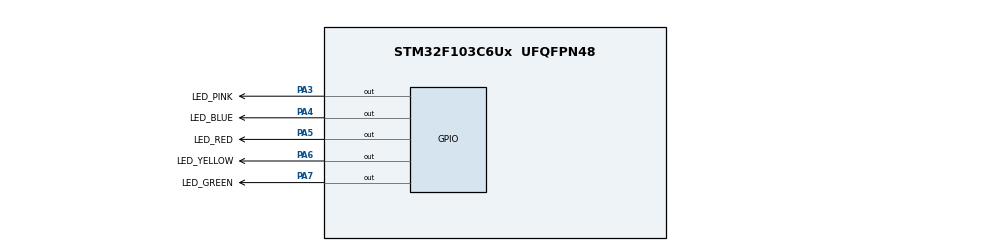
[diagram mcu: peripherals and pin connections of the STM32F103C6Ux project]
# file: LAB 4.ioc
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Mcu.Family=STM32F1
Mcu.Name=STM32F103C6Ux
Mcu.Package=UFQFPN48
NVIC.PriorityGroup=NVIC_PRIORITYGROUP_4
NVIC.TIM2_IRQn=true\:0\:0\:false\:false\:true\:true\:true
PA3.GPIO_Label=LED_PINK
PA3.Signal=GPIO_Output
PA4.GPIO_Label=LED_BLUE
PA4.Signal=GPIO_Output
PA5.GPIO_Label=LED_RED
PA5.Signal=GPIO_Output
PA6.GPIO_Label=LED_YELLOW
PA6.Signal=GPIO_Output
PA7.GPIO_Label=LED_GREEN
PA7.Signal=GPIO_Output
ProjectManager.HeapSize=0x200
ProjectManager.StackSize=0x400
ProjectManager.TargetToolchain=STM32CubeIDE
RCC.APB1Freq_Value=8000000
RCC.APB2Freq_Value=8000000
TIM2.Period=9
TIM2.Prescaler=7999
VP_SYS_VS_ND.Mode=No_Debug
VP_TIM2_VS_ClockSourceINT.Mode=Internal
board=custom

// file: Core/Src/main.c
/* USER CODE BEGIN Header */
/**
  ******************************************************************************
  * @file           : main.c
  * @brief          : Main program body
  ******************************************************************************
  * @attention
  *
  * <h2><center>&copy; Copyright (c) 2022 STMicroelectronics.
  * All rights reserved.</center></h2>
  *
  * This software component is licensed by ST under BSD 3-Clause license,
  * the "License"; You may not use this file except in compliance with the
  * License. You may obtain a copy of the License at:
  *                        opensource.org/licenses/BSD-3-Clause
  *
  ******************************************************************************
  */
/* USER CODE END Header */
#include "main.h"

/* USER CODE BEGIN Includes */
#include  "scheduler.h"
/* USER CODE END Includes */

TIM_HandleTypeDef htim2;

void SystemClock_Config(void);
static void MX_GPIO_Init(void);
static void MX_TIM2_Init(void);

/* USER CODE BEGIN 0 */
void led_red_run(){
	HAL_GPIO_TogglePin(LED_RED_GPIO_Port, LED_RED_Pin);
}
void led_yellow_run(){
	HAL_GPIO_TogglePin(LED_YELLOW_GPIO_Port, LED_YELLOW_Pin);
}

void led_green_run(){
	HAL_GPIO_TogglePin(LED_GREEN_GPIO_Port, LED_GREEN_Pin);
}

void led_blue_run(){
	HAL_GPIO_TogglePin(LED_BLUE_GPIO_Port, LED_BLUE_Pin);
}

void led_pink_run(){
	HAL_GPIO_TogglePin(LED_PINK_GPIO_Port, LED_PINK_Pin);
}

/* USER CODE END 0 */

int main(void)
{

  /* MCU Configuration--------------------------------------------------------*/

  /* Reset of all peripherals, Initializes the Flash interface and the Systick. */
  HAL_Init();

  /* Configure the system clock */
  SystemClock_Config();

  /* Initialize all configured peripherals */
  MX_GPIO_Init();
  MX_TIM2_Init();
  /* USER CODE BEGIN 2 */
 HAL_TIM_Base_Start_IT (&htim2);
  /* USER CODE END 2 */

  /* Infinite loop */
  /* USER CODE BEGIN WHILE */

 SCH_Add_Task(led_pink_run, 0, 50);
 SCH_Add_Task(led_green_run, 50, 150);
 SCH_Add_Task(led_blue_run, 100, 100);
 SCH_Add_Task(led_red_run, 150, 200);
 SCH_Add_Task(led_yellow_run, 200, 250);

//  SCH_Add_Task(led_pink_run, 0, 100);
//  SCH_Add_Task(led_green_run, 100, 200);
//  SCH_Add_Task(led_blue_run, 200, 300);
//  SCH_Add_Task(led_red_run, 300, 400);
//  SCH_Add_Task(led_yellow_run, 400, 500);

  while (1)
  {
    /* USER CODE END WHILE */
	  SCH_Dispatch_Tasks();
  }
}

void SystemClock_Config(void)
{
  RCC_OscInitTypeDef RCC_OscInitStruct = {0};
  RCC_ClkInitTypeDef RCC_ClkInitStruct = {0};

  /** Initializes the RCC Oscillators according to the specified parameters
  * in the RCC_OscInitTypeDef structure.
  */
  RCC_OscInitStruct.OscillatorType = RCC_OSCILLATORTYPE_HSI;
  RCC_OscInitStruct.HSIState = RCC_HSI_ON;
  RCC_OscInitStruct.HSICalibrationValue = RCC_HSICALIBRATION_DEFAULT;
  RCC_OscInitStruct.PLL.PLLState = RCC_PLL_NONE;
  if (HAL_RCC_OscConfig(&RCC_OscInitStruct) != HAL_OK)
  {
    Error_Handler();
  }
  /** Initializes the CPU, AHB and APB buses clocks
  */
  RCC_ClkInitStruct.ClockType = RCC_CLOCKTYPE_HCLK|RCC_CLOCKTYPE_SYSCLK
                              |RCC_CLOCKTYPE_PCLK1|RCC_CLOCKTYPE_PCLK2;
  RCC_ClkInitStruct.SYSCLKSource = RCC_SYSCLKSOURCE_HSI;
  RCC_ClkInitStruct.AHBCLKDivider = RCC_SYSCLK_DIV1;
  RCC_ClkInitStruct.APB1CLKDivider = RCC_HCLK_DIV1;
  RCC_ClkInitStruct.APB2CLKDivider = RCC_HCLK_DIV1;

  if (HAL_RCC_ClockConfig(&RCC_ClkInitStruct, FLASH_LATENCY_0) != HAL_OK)
  {
    Error_Handler();
  }
}

static void MX_TIM2_Init(void)
{

  TIM_ClockConfigTypeDef sClockSourceConfig = {0};
  TIM_MasterConfigTypeDef sMasterConfig = {0};

  htim2.Instance = TIM2;
  htim2.Init.Prescaler = 7999;
  htim2.Init.CounterMode = TIM_COUNTERMODE_UP;
  htim2.Init.Period = 9;
  htim2.Init.ClockDivision = TIM_CLOCKDIVISION_DIV1;
  htim2.Init.AutoReloadPreload = TIM_AUTORELOAD_PRELOAD_DISABLE;
  if (HAL_TIM_Base_Init(&htim2) != HAL_OK)
  {
    Error_Handler();
  }
  sClockSourceConfig.ClockSource = TIM_CLOCKSOURCE_INTERNAL;
  if (HAL_TIM_ConfigClockSource(&htim2, &sClockSourceConfig) != HAL_OK)
  {
    Error_Handler();
  }
  sMasterConfig.MasterOutputTrigger = TIM_TRGO_RESET;
  sMasterConfig.MasterSlaveMode = TIM_MASTERSLAVEMODE_DISABLE;
  if (HAL_TIMEx_MasterConfigSynchronization(&htim2, &sMasterConfig) != HAL_OK)
  {
    Error_Handler();
  }

}

static void MX_GPIO_Init(void)
{
  GPIO_InitTypeDef GPIO_InitStruct = {0};

  /* GPIO Ports Clock Enable */
  __HAL_RCC_GPIOA_CLK_ENABLE();

  /*Configure GPIO pin Output Level */
  HAL_GPIO_WritePin(GPIOA, LED_PINK_Pin|LED_BLUE_Pin|LED_RED_Pin|LED_YELLOW_Pin
                          |LED_GREEN_Pin, GPIO_PIN_RESET);

  /*Configure GPIO pins : LED_PINK_Pin LED_BLUE_Pin LED_RED_Pin LED_YELLOW_Pin
                           LED_GREEN_Pin */
  GPIO_InitStruct.Pin = LED_PINK_Pin|LED_BLUE_Pin|LED_RED_Pin|LED_YELLOW_Pin
                          |LED_GREEN_Pin;
  GPIO_InitStruct.Mode = GPIO_MODE_OUTPUT_PP;
  GPIO_InitStruct.Pull = GPIO_NOPULL;
  GPIO_InitStruct.Speed = GPIO_SPEED_FREQ_LOW;
  HAL_GPIO_Init(GPIOA, &GPIO_InitStruct);

}

/* USER CODE BEGIN 4 */

void HAL_TIM_PeriodElapsedCallback(TIM_HandleTypeDef *htim){
	SCH_Update();
//	counter++;
//	if(counter >= 100){
//		counter = 0;
//		HAL_GPIO_TogglePin(LED_RED_GPIO_Port, LED_RED_Pin);
//	}
}
/* USER CODE END 4 */

void Error_Handler(void)
{
  __disable_irq();
  while (1)
  {
  }
}

/************************ (C) COPYRIGHT STMicroelectronics *****END OF FILE****/
